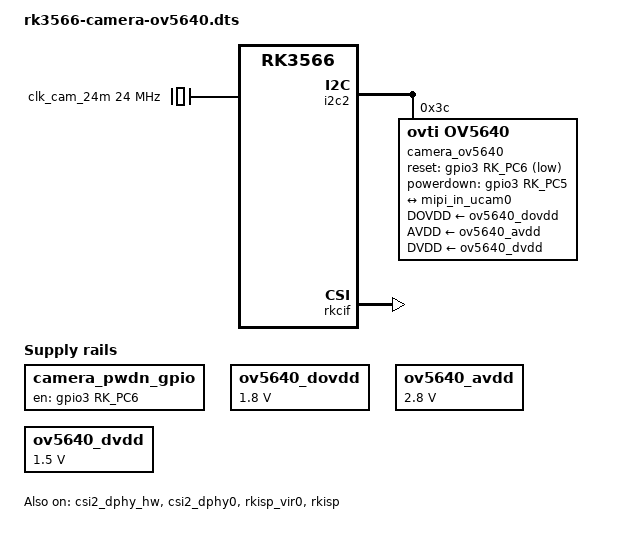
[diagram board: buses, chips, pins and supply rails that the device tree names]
/*
 * Device tree overlay for OV5640 (5MP Autofocus Camera) on RK3566
 *
 * OmniVision OV5640 - 5MP MIPI CSI-2 sensor with autofocus
 * Common sensor found in many camera modules
 *
 * Compatible with Radxa Zero 3W and similar RK3566-based boards
 * Uses I2C2 and CSI2 DPHY0 in full mode (2 lanes)
 *
 * Copyright (c) 2024 MYSh LLC
 */
/dts-v1/;
/plugin/;

#include "dt-bindings.h"

/ {
	compatible = "rockchip,rk3566";

	metadata {
		title = "OV5640 Camera (5MP Autofocus)";
		category = "camera";
		exclusive = "csi2_dphy0";
		description = "Enable OmniVision OV5640 5MP autofocus camera sensor on CSI2 DPHY0";
	};
};

&{/} {
	clk_cam_24m: external-camera-clock-24m {
		status = "okay";
		compatible = "fixed-clock";
		clock-frequency = <24000000>;
		clock-output-names = "clk_cam_24m";
		#clock-cells = <0>;
	};

	camera_pwdn_gpio: camera-pwdn-gpio {
		status = "okay";
		compatible = "regulator-fixed";
		regulator-name = "camera_pwdn_gpio";
		regulator-always-on;
		regulator-boot-on;
		enable-active-high;
		gpio = <&gpio3 RK_PC6 GPIO_ACTIVE_HIGH>;
	};

	/* Power supplies for OV5640 */
	ov5640_dovdd: ov5640-dovdd {
		status = "okay";
		compatible = "regulator-fixed";
		regulator-name = "ov5640_dovdd";
		regulator-min-microvolt = <1800000>;
		regulator-max-microvolt = <1800000>;
		regulator-always-on;
		regulator-boot-on;
	};

	ov5640_avdd: ov5640-avdd {
		status = "okay";
		compatible = "regulator-fixed";
		regulator-name = "ov5640_avdd";
		regulator-min-microvolt = <2800000>;
		regulator-max-microvolt = <2800000>;
		regulator-always-on;
		regulator-boot-on;
	};

	ov5640_dvdd: ov5640-dvdd {
		status = "okay";
		compatible = "regulator-fixed";
		regulator-name = "ov5640_dvdd";
		regulator-min-microvolt = <1500000>;
		regulator-max-microvolt = <1500000>;
		regulator-always-on;
		regulator-boot-on;
	};
};

&i2c2 {
	status = "okay";
	pinctrl-names = "default";
	pinctrl-0 = <&i2c2m1_xfer>;
	#address-cells = <1>;
	#size-cells = <0>;

	camera_ov5640: camera-ov5640@3c {
		status = "okay";
		compatible = "ovti,ov5640";
		reg = <0x3c>;
		clocks = <&clk_cam_24m>;
		clock-names = "xclk";

		DOVDD-supply = <&ov5640_dovdd>;
		AVDD-supply = <&ov5640_avdd>;
		DVDD-supply = <&ov5640_dvdd>;

		reset-gpios = <&gpio3 RK_PC6 GPIO_ACTIVE_LOW>;
		powerdown-gpios = <&gpio3 RK_PC5 GPIO_ACTIVE_HIGH>;

		rotation = <0>;

		rockchip,camera-module-index = <0>;
		rockchip,camera-module-facing = "back";
		rockchip,camera-module-name = "ov5640";
		rockchip,camera-module-lens-name = "default";

		port {
			ov5640_out: endpoint {
				remote-endpoint = <&mipi_in_ucam0>;
				data-lanes = <1 2>;
			};
		};
	};
};

&csi2_dphy_hw {
	status = "okay";
};

&csi2_dphy0 {
	status = "okay";

	ports {
		#address-cells = <1>;
		#size-cells = <0>;

		port@0 {
			reg = <0>;
			#address-cells = <1>;
			#size-cells = <0>;

			mipi_in_ucam0: endpoint@1 {
				reg = <1>;
				remote-endpoint = <&ov5640_out>;
				data-lanes = <1 2>;
			};
		};

		port@1 {
			reg = <1>;
			#address-cells = <1>;
			#size-cells = <0>;

			dphy0_out: endpoint@1 {
				reg = <1>;
				remote-endpoint = <&isp0_in>;
			};
		};
	};
};

&rkisp_vir0 {
	status = "okay";

	port {
		#address-cells = <1>;
		#size-cells = <0>;

		isp0_in: endpoint@0 {
			reg = <0>;
			remote-endpoint = <&dphy0_out>;
		};
	};
};

&rkisp {
	status = "okay";
};

&rkisp_mmu {
	status = "okay";
};

&rkcif_mmu {
	status = "okay";
};

&rkcif {
	status = "okay";
};
